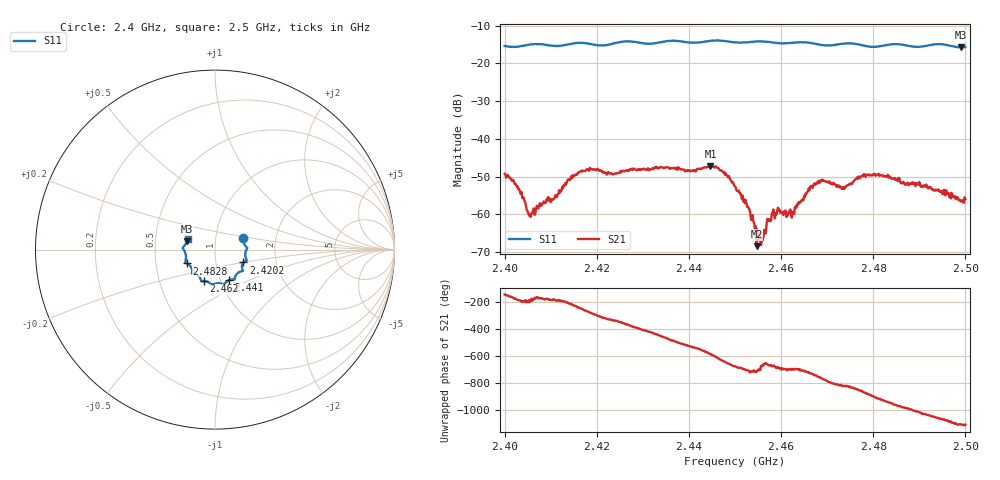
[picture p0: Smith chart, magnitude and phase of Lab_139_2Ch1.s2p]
# Hz S RI R 50
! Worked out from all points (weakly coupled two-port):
!   601 points, 2.4 GHz to 2.5 GHz, reference 50 ohm
!   highest |S21| = -47.19 dB at 2.4447 GHz (marker M1); lowest = -68.4 dB at 2.4547 GHz (marker M2)
!   lowest |S11| = -15.8 dB at 2.499 GHz (marker M3), VSWR 1.39, Z = 36.4 + j3.52 ohm
!   |S11| at or under -10 dB: start of sweep to end of sweep
!   S12 and S22 are empty: the file has one direction only
!   S11 on the Smith chart (normalised r, x): 2.4 GHz: 1.36, +0.17; 2.4202 GHz: 1.36, -0.20; 2.441 GHz: 1.10, -0.39; 2.462 GHz: 0.84, -0.30; 2.4828 GHz: 0.72, -0.11; 2.5 GHz: 0.73, +0.09
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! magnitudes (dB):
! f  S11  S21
! 2.4 GHz  -15.4  -49.3
! 2.4023 GHz  -15.7  -51.8
! 2.4055 GHz  -15.0  -59.9
! 2.4167 GHz  -14.6  -48.7
! 2.4202 GHz  -15.2  -47.9
! 2.4333 GHz  -14.5  -47.7
! 2.441 GHz  -14.5  -48.2
! 2.4447 GHz  -14.0  -47.2
! 2.45 GHz  -14.4  -52.5
! 2.4528 GHz  -14.4  -58.0
! 2.4547 GHz  -14.2  -68.4
! 2.456 GHz  -14.2  -66.8
! 2.4575 GHz  -14.4  -61.7
! 2.4593 GHz  -14.6  -58.2
! 2.462 GHz  -14.6  -58.7
! 2.4667 GHz  -14.6  -52.4
! 2.4735 GHz  -14.8  -52.7
! 2.4777 GHz  -15.2  -49.7
! 2.4828 GHz  -15.1  -49.9
! 2.4833 GHz  -15.0  -50.3
! 2.499 GHz  -15.8  -56.6
! 2.5 GHz  -15.7  -55.9
